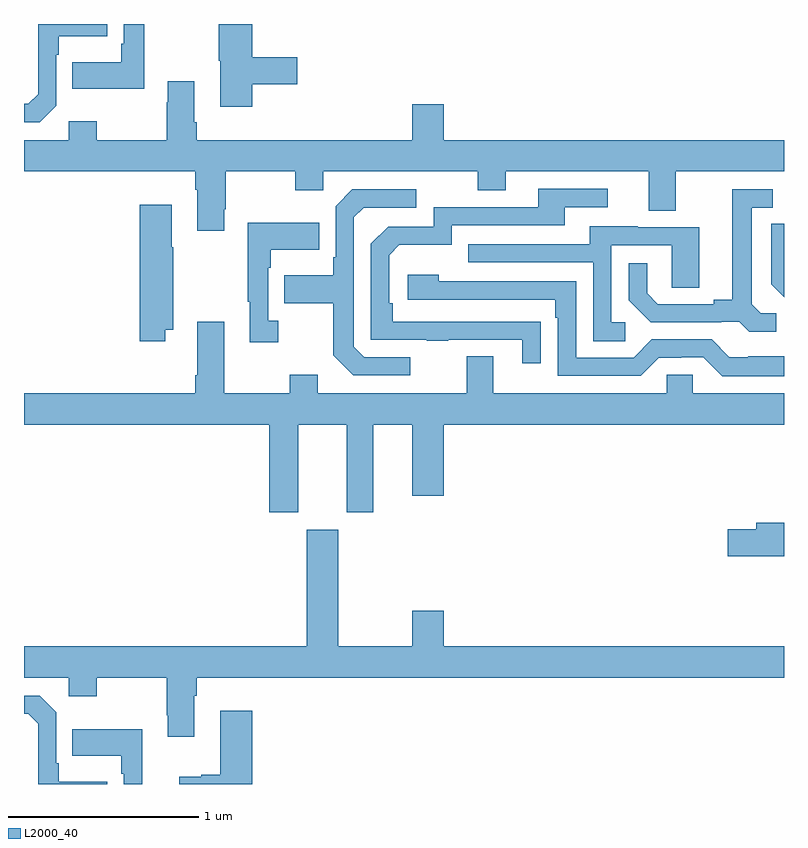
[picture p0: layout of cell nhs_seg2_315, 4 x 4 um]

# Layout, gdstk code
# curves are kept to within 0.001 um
import gdstk
lib = gdstk.Library(unit=1e-6, precision=1e-09)
def P(c, l, *ps):  # polygons
    for p in ps: c.add(gdstk.Polygon(p, *l))
L2000_40 = (2000, 40)

nhs_seg2_315 = lib.new_cell('nhs_seg2_315')
P(nhs_seg2_315, L2000_40, [(127.17,593.37),(127.17,593.639),(127.183,593.639),(127.183,593.735),(127.439,593.735),(127.439,593.8),(127.074,593.8),(127.074,593.43),(127.023,593.379),(127,593.379),(127,593.283),(127.083,593.283)],
  [(127.633,593.8),(127.524,593.8),(127.524,593.695),(127.512,593.695),(127.512,593.599),(127.255,593.599),(127.255,593.459),(127.633,593.459)],
  [(128.201,593.482),(128.437,593.482),(128.437,593.624),(128.201,593.624),(128.201,593.8),(128.026,593.8),(128.026,593.607),(128.033,593.607),(128.033,593.364),(128.201,593.364)],
  [(128.053,592.825),(128.061,592.825),(128.061,593.024),(128.428,593.024),(128.428,592.925),(128.574,592.925),(128.574,593.024),(129.388,593.024),(129.388,592.925),(129.535,592.925),(129.535,593.024),(130.289,593.024),(130.289,592.816),(130.429,592.816),(130.429,593.024),(131,593.024),(131,593.188),(129.208,593.188),(129.208,593.377),(129.044,593.377),(129.044,593.188),(127.91,593.188),(127.91,593.284),(127.897,593.284),(127.897,593.5),(127.757,593.5),(127.757,593.387),(127.75,593.387),(127.75,593.188),(127.383,593.188),(127.383,593.287),(127.236,593.287),(127.236,593.188),(127,593.188),(127,593.024),(127.901,593.024),(127.901,592.928),(127.913,592.928),(127.913,592.713),(128.053,592.713)],
  [(129.719,592.232),(128.942,592.233),(128.942,592.33),(128.922,592.33),(128.922,592.584),(128.975,592.637),(129.252,592.637),(129.252,592.74),(129.847,592.74),(129.847,592.836),(130.072,592.836),(130.072,592.932),(129.707,592.932),(129.707,592.836),(129.156,592.836),(129.156,592.734),(128.916,592.734),(128.826,592.644),(128.826,592.137),(129.121,592.137),(129.121,592.132),(129.233,592.132),(129.233,592.137),(129.623,592.137),(129.623,592.014),(129.719,592.014)],
  [(130.96,592.278),(130.878,592.278),(130.831,592.325),(130.831,592.833),(130.942,592.833),(130.942,592.929),(130.727,592.929),(130.727,592.349),(130.631,592.349),(130.631,592.326),(130.336,592.326),(130.279,592.383),(130.279,592.54),(130.182,592.54),(130.182,592.346),(130.298,592.23),(130.67,592.23),(130.67,592.233),(130.764,592.233),(130.816,592.181),(130.96,592.181)],
  [(129.034,592.047),(128.79,592.047),(128.736,592.101),(128.736,592.782),(128.787,592.833),(129.064,592.833),(129.064,592.929),(128.727,592.929),(128.64,592.842),(128.64,592.573),(128.628,592.573),(128.628,592.477),(128.371,592.477),(128.371,592.33),(128.628,592.33),(128.628,592.057),(128.733,591.951),(129.034,591.951)],
  [(127.744,592.19),(127.785,592.19),(127.785,592.625),(127.777,592.625),(127.777,592.849),(127.61,592.849),(127.61,592.131),(127.744,592.131)],
  [(128.338,592.238),(128.286,592.238),(128.286,592.517),(128.299,592.517),(128.299,592.613),(128.555,592.613),(128.555,592.753),(128.178,592.753),(128.178,592.337),(128.189,592.337),(128.189,592.125),(128.338,592.125)],
  [(131,592.748),(130.932,592.748),(130.932,592.43),(131,592.362)],
  [(130.165,592.23),(130.092,592.23),(130.092,592.635),(130.41,592.635),(130.41,592.411),(130.555,592.411),(130.555,592.731),(130.231,592.731),(130.231,592.735),(129.977,592.735),(129.977,592.641),(129.337,592.641),(129.337,592.545),(129.996,592.545),(129.996,592.129),(130.165,592.129)],
  [(131,592.051),(130.813,592.051),(130.813,592.047),(130.713,592.047),(130.62,592.14),(130.305,592.14),(130.209,592.044),(129.906,592.044),(129.906,592.446),(129.182,592.446),(129.182,592.48),(129.021,592.48),(129.021,592.35),(129.797,592.35),(129.797,592.253),(129.81,592.253),(129.81,591.948),(130.245,591.948),(130.341,592.044),(130.46,592.044),(130.46,592.047),(130.575,592.047),(130.675,591.947),(131,591.947)],
  [(128.443,591.692),(128.699,591.692),(128.699,591.231),(128.839,591.231),(128.839,591.692),(129.044,591.692),(129.044,591.318),(129.208,591.318),(129.208,591.692),(131,591.692),(131,591.856),(130.521,591.856),(130.521,591.954),(130.383,591.954),(130.383,591.856),(129.469,591.856),(129.469,592.051),(129.329,592.051),(129.329,591.856),(128.545,591.856),(128.545,591.955),(128.398,591.955),(128.398,591.856),(128.053,591.856),(128.053,592.234),(127.913,592.234),(127.913,591.952),(127.901,591.952),(127.901,591.856),(127,591.856),(127,591.692),(128.291,591.692),(128.291,591.231),(128.443,591.231)],
  [(131,591.176),(130.853,591.176),(130.853,591.14),(130.704,591.14),(130.704,590.998),(131,590.998)],
  [(127.897,590.264),(127.91,590.264),(127.91,590.36),(131,590.36),(131,590.524),(129.208,590.524),(129.208,590.713),(129.044,590.713),(129.044,590.524),(128.653,590.524),(128.653,591.139),(128.489,591.139),(128.489,590.524),(127,590.524),(127,590.36),(127.236,590.36),(127.236,590.261),(127.383,590.261),(127.383,590.36),(127.75,590.36),(127.75,590.161),(127.757,590.161),(127.757,590.049),(127.897,590.049)],
  [(127.439,589.813),(127.183,589.813),(127.183,589.909),(127.17,589.909),(127.17,590.178),(127.083,590.265),(127,590.265),(127,590.169),(127.023,590.169),(127.074,590.118),(127.074,589.8),(127.439,589.8)],
  [(128.201,590.185),(128.033,590.185),(128.033,589.85),(127.934,589.85),(127.934,589.837),(127.818,589.837),(127.818,589.8),(128.201,589.8)],
  [(127.622,590.089),(127.255,590.089),(127.255,589.949),(127.512,589.949),(127.512,589.853),(127.524,589.853),(127.524,589.8),(127.622,589.8)])

lib.write_gds('nhs_seg2_315.gds')
